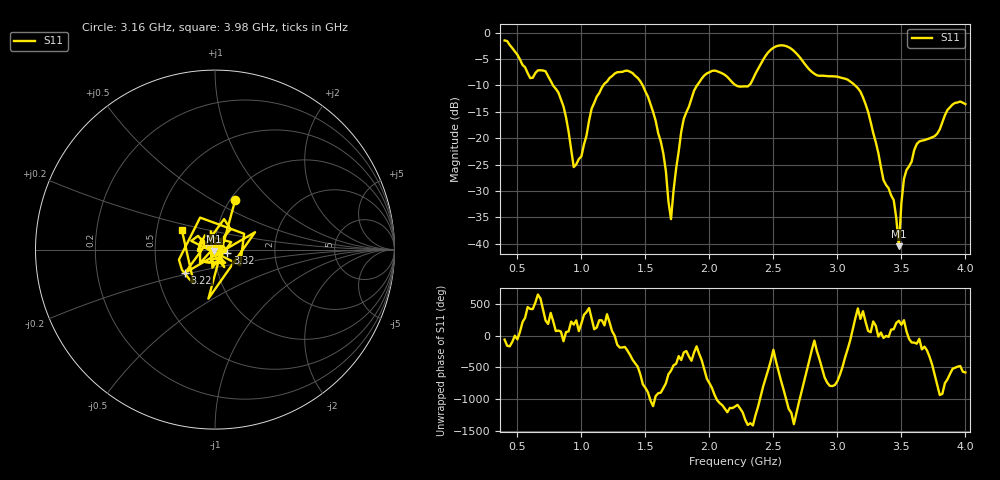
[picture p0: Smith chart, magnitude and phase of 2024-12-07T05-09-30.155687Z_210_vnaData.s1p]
!Created with skrf (http://scikit-rf.org).
# Hz S RI R 50.0
!freq ReS11 ImS11
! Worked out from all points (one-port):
!   181 points, 400 MHz to 4 GHz, reference 50 ohm
!   lowest |S11| = -40.5 dB at 3.48 GHz (marker M1), VSWR 1.02, Z = 49.4 - j0.756 ohm
!   |S11| at or under -10 dB: 778.4 MHz to 1.171 GHz (392.9 MHz wide, 40.3 % of centre); 1.479 GHz to 1.904 GHz (424.8 MHz wide, 25.1 % of centre); 3.138 GHz to end of sweep (the widest 3 of 4)
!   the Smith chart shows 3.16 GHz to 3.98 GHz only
!   S11 on the Smith chart (normalised r, x): 3.16 GHz: 1.06, +0.64; 3.22 GHz: 0.69, -0.19; 3.32 GHz: 1.15, -0.05; 3.98 GHz: 0.67, +0.16
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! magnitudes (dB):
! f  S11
! 400 MHz  -1.5
! 600 MHz  -8.6
! 720 MHz  -7.3
! 860 MHz  -14.0
! 940 MHz  -25.5
! 1.12 GHz  -12.1
! 1.3 GHz  -7.5
! 1.52 GHz  -12.1
! 1.64 GHz  -22.9
! 1.7 GHz  -35.3
! 1.76 GHz  -22.5
! 1.8 GHz  -16.3
! 1.96 GHz  -8.1
! 2.2 GHz  -9.9
! 2.32 GHz  -9.8
! 2.5 GHz  -2.9
! 2.66 GHz  -3.5
! 3.1 GHz  -9.3
! 3.16 GHz  -10.5
! 3.22 GHz  -13.6
! 3.32 GHz  -22.8
! 3.44 GHz  -31.7
! 3.48 GHz  -40.5
! 3.52 GHz  -27.7
! 3.56 GHz  -25.3
! 3.62 GHz  -21.1
! 3.98 GHz  -13.3
! 4 GHz  -13.5
